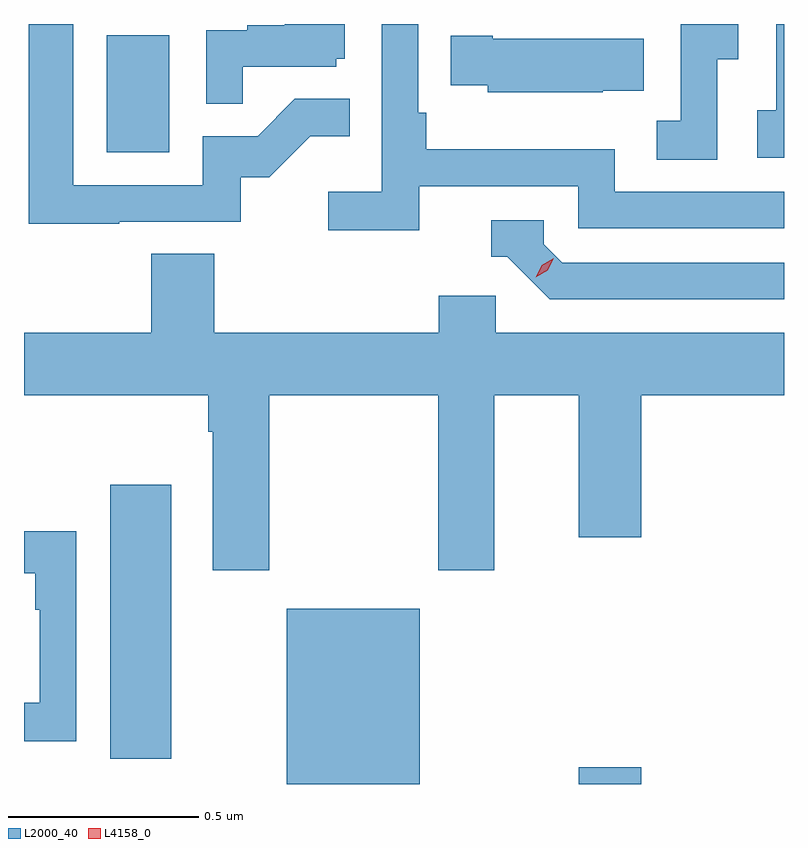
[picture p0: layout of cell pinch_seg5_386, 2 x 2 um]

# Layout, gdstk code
import gdstk
lib = gdstk.Library(unit=1e-6, precision=1e-09)
def R(c, l, rs):  # rectangles x0, y0, x1, y1
    for r in rs: c.add(gdstk.rectangle(r[:2], r[2:], *l))
def P(c, l, *ps):  # polygons
    for p in ps: c.add(gdstk.Polygon(p, *l))
L2000_40 = (2000, 40)
L4158_0 = (4158, 0)

pinch_seg5_386 = lib.new_cell('pinch_seg5_386')
R(pinch_seg5_386, L2000_40, [(991.412,891.701,991.762,892.162), (992.18,891.701,992.344,891.745), (990.947,891.768,991.108,892.489), (990.938,893.364,991.102,893.671)])
P(pinch_seg5_386, L2000_40, [(990.971,893.181),(991.29,893.181),(991.29,893.298),(991.366,893.298),(991.473,893.405),(991.577,893.405),(991.577,893.504),(991.433,893.504),(991.335,893.406),(991.191,893.406),(991.191,893.277),(990.849,893.277),(990.849,893.701),(990.733,893.701),(990.733,893.176),(990.971,893.176)],
  [(991.295,893.589),(991.542,893.589),(991.542,893.61),(991.564,893.61),(991.564,893.701),(991.406,893.701),(991.406,893.698),(991.307,893.698),(991.307,893.685),(991.2,893.685),(991.2,893.491),(991.295,893.491)],
  [(992.544,893.608),(992.599,893.608),(992.599,893.701),(992.448,893.701),(992.448,893.447),(992.385,893.447),(992.385,893.344),(992.544,893.344)],
  [(992.72,893.701),(992.7,893.701),(992.7,893.474),(992.649,893.474),(992.649,893.349),(992.72,893.349)],
  [(991.76,893.274),(992.178,893.274),(992.178,893.163),(992.72,893.163),(992.72,893.259),(992.274,893.259),(992.274,893.371),(991.778,893.371),(991.778,893.467),(991.758,893.467),(991.758,893.701),(991.662,893.701),(991.662,893.26),(991.521,893.26),(991.521,893.158),(991.76,893.158)],
  [(992.243,893.525),(992.351,893.525),(992.351,893.662),(991.954,893.662),(991.954,893.67),(991.843,893.67),(991.843,893.54),(991.941,893.54),(991.941,893.522),(992.243,893.522)],
  [(992.72,893.073),(992.136,893.073),(992.088,893.121),(992.088,893.184),(991.949,893.184),(991.949,893.088),(991.992,893.088),(992.103,892.977),(992.72,892.977)],
  [(991.365,892.724),(991.81,892.724),(991.81,892.263),(991.957,892.263),(991.957,892.724),(992.18,892.724),(992.18,892.35),(992.344,892.35),(992.344,892.724),(992.72,892.724),(992.72,892.888),(991.962,892.888),(991.962,892.986),(991.811,892.986),(991.811,892.888),(991.22,892.888),(991.22,893.096),(991.055,893.096),(991.055,892.888),(990.72,892.888),(990.72,892.724),(991.205,892.724),(991.205,892.628),(991.217,892.628),(991.217,892.263),(991.365,892.263)],
  [(990.858,892.366),(990.72,892.366),(990.72,892.256),(990.749,892.256),(990.749,892.16),(990.762,892.16),(990.762,891.915),(990.72,891.915),(990.72,891.814),(990.858,891.814)])
P(pinch_seg5_386, L4158_0, [(992.067,893.034),(992.067,893.034),(992.083,893.066),(992.114,893.085),(992.114,893.085),(992.114,893.085),(992.098,893.053),(992.067,893.034)])

lib.write_gds('pinch_seg5_386.gds')
